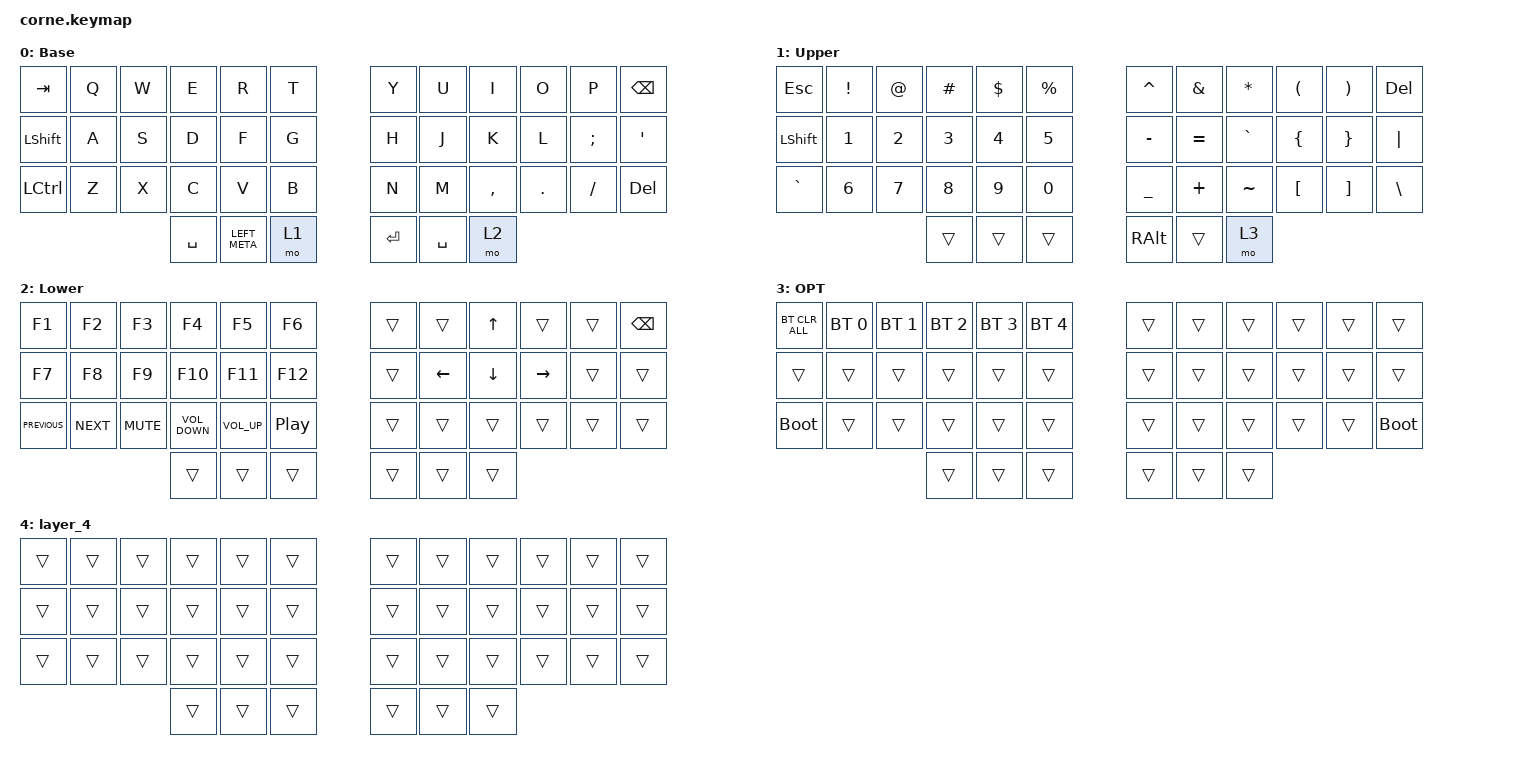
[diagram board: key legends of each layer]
/*
 * Copyright (c) 2020 The ZMK Contributors
 *
 * SPDX-License-Identifier: MIT
 */

#include <behaviors.dtsi>
#include <dt-bindings/zmk/bt.h>
#include <dt-bindings/zmk/keys.h>

/ {
    keymap {
        compatible = "zmk,keymap";

        Alphabet {
            display-name = "Base";
            bindings = <
&kp TAB         &kp Q  &kp W  &kp E      &kp R          &kp T    &kp Y    &kp U      &kp I      &kp O    &kp P     &kp BSPC
&kp LEFT_SHIFT  &kp A  &kp S  &kp D      &kp F          &kp G    &kp H    &kp J      &kp K      &kp L    &kp SEMI  &kp SQT
&kp LCTRL       &kp Z  &kp X  &kp C      &kp V          &kp B    &kp N    &kp M      &kp COMMA  &kp DOT  &kp FSLH  &kp DELETE
                              &kp SPACE  &kp LEFT_META  &mo 1    &kp RET  &kp SPACE  &mo 2
            >;
        };

        NumberSymbol {
            display-name = "Upper";
            bindings = <
&kp ESC         &kp EXCL      &kp AT        &kp HASH      &kp DOLLAR    &kp PERCENT     &kp CARET      &kp AMPS   &kp ASTERISK  &kp LEFT_PARENTHESIS  &kp RIGHT_PARENTHESIS  &kp DELETE
&kp LEFT_SHIFT  &kp NUMBER_1  &kp NUMBER_2  &kp NUMBER_3  &kp NUMBER_4  &kp NUMBER_5    &kp MINUS      &kp EQUAL  &kp GRAVE     &kp LEFT_BRACE        &kp RIGHT_BRACE        &kp PIPE
&kp GRAVE       &kp NUMBER_6  &kp NUMBER_7  &kp NUMBER_8  &kp NUMBER_9  &kp NUMBER_0    &kp UNDER      &kp PLUS   &kp TILDE     &kp LEFT_BRACKET      &kp RIGHT_BRACKET      &kp BACKSLASH
                                            &trans        &trans        &trans          &kp RIGHT_ALT  &trans     &mo 3
            >;
        };

        Function {
            display-name = "Lower";
            bindings = <
&kp F1          &kp F2      &kp F3      &kp F4             &kp F5           &kp F6              &trans  &trans          &kp UP_ARROW    &trans           &trans  &kp BSPC
&kp F7          &kp F8      &kp F9      &kp F10            &kp F11          &kp F12             &trans  &kp LEFT_ARROW  &kp DOWN_ARROW  &kp RIGHT_ARROW  &trans  &trans
&kp C_PREVIOUS  &kp C_NEXT  &kp K_MUTE  &kp C_VOLUME_DOWN  &kp C_VOLUME_UP  &kp C_PLAY_PAUSE    &trans  &trans          &trans          &trans           &trans  &trans
                                        &trans             &trans           &trans              &trans  &trans          &trans
            >;
        };

        Bluetooth {
            display-name = "OPT";
            bindings = <
&bt BT_CLR_ALL  &bt BT_SEL 0  &bt BT_SEL 1  &bt BT_SEL 2  &bt BT_SEL 3  &bt BT_SEL 4    &trans  &trans  &trans  &trans  &trans  &trans
&trans          &trans        &trans        &trans        &trans        &trans          &trans  &trans  &trans  &trans  &trans  &trans
&bootloader     &trans        &trans        &trans        &trans        &trans          &trans  &trans  &trans  &trans  &trans  &bootloader
                                            &trans        &trans        &trans          &trans  &trans  &trans
            >;
        };

        layer_4 {
            bindings = <
&trans  &trans  &trans  &trans  &trans  &trans    &trans  &trans  &trans  &trans  &trans  &trans
&trans  &trans  &trans  &trans  &trans  &trans    &trans  &trans  &trans  &trans  &trans  &trans
&trans  &trans  &trans  &trans  &trans  &trans    &trans  &trans  &trans  &trans  &trans  &trans
                        &trans  &trans  &trans    &trans  &trans  &trans
            >;
        };
    };
};
